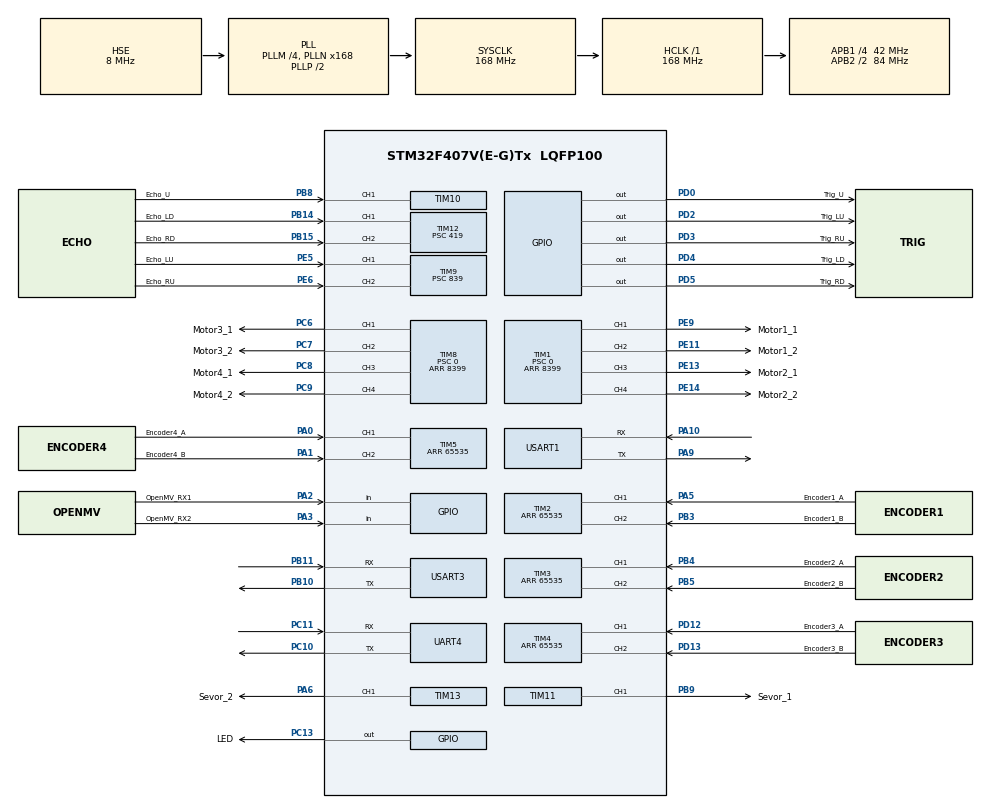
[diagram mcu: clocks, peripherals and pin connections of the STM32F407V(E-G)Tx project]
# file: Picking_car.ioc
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Dma.Request0=USART3_TX
Dma.Request1=USART3_RX
Dma.USART3_RX.1.Direction=DMA_PERIPH_TO_MEMORY
Dma.USART3_RX.1.FIFOMode=DMA_FIFOMODE_DISABLE
Dma.USART3_RX.1.Instance=DMA1_Stream1
Dma.USART3_RX.1.MemDataAlignment=DMA_MDATAALIGN_BYTE
Dma.USART3_RX.1.MemInc=DMA_MINC_ENABLE
Dma.USART3_RX.1.Mode=DMA_CIRCULAR
Dma.USART3_RX.1.PeriphDataAlignment=DMA_PDATAALIGN_BYTE
Dma.USART3_RX.1.PeriphInc=DMA_PINC_DISABLE
Dma.USART3_RX.1.Priority=DMA_PRIORITY_LOW
Dma.USART3_TX.0.Direction=DMA_MEMORY_TO_PERIPH
Dma.USART3_TX.0.FIFOMode=DMA_FIFOMODE_DISABLE
Dma.USART3_TX.0.Instance=DMA1_Stream3
Dma.USART3_TX.0.MemDataAlignment=DMA_MDATAALIGN_BYTE
Dma.USART3_TX.0.MemInc=DMA_MINC_ENABLE
Dma.USART3_TX.0.Mode=DMA_NORMAL
Dma.USART3_TX.0.PeriphDataAlignment=DMA_PDATAALIGN_BYTE
Dma.USART3_TX.0.PeriphInc=DMA_PINC_DISABLE
Dma.USART3_TX.0.Priority=DMA_PRIORITY_LOW
Mcu.Family=STM32F4
Mcu.Name=STM32F407V(E-G)Tx
Mcu.Package=LQFP100
NVIC.DMA1_Stream1_IRQn=true\:0\:0\:false\:false\:true\:false
NVIC.DMA1_Stream3_IRQn=true\:0\:0\:false\:false\:true\:false
NVIC.PriorityGroup=NVIC_PRIORITYGROUP_2
NVIC.TIM1_BRK_TIM9_IRQn=true\:0\:1\:true\:false\:true\:true
NVIC.TIM1_UP_TIM10_IRQn=true\:0\:1\:false\:false\:true\:true
NVIC.TIM6_DAC_IRQn=true\:1\:1\:true\:false\:true\:true
NVIC.TIM8_BRK_TIM12_IRQn=true\:0\:1\:false\:false\:true\:true
NVIC.TIM8_UP_TIM13_IRQn=true\:0\:1\:false\:false\:true\:true
NVIC.USART1_IRQn=true\:1\:0\:true\:false\:true\:true
NVIC.USART3_IRQn=true\:0\:0\:false\:false\:true\:true
PA0-WKUP.GPIO_Label=Encoder4_A
PA0-WKUP.GPIO_PuPd=GPIO_PULLUP
PA0-WKUP.GPIO_Speed=GPIO_SPEED_FREQ_HIGH
PA0-WKUP.Signal=S_TIM5_CH1
PA1.GPIO_Label=Encoder4_B
PA1.GPIO_PuPd=GPIO_PULLUP
PA1.GPIO_Speed=GPIO_SPEED_FREQ_HIGH
PA1.Signal=S_TIM5_CH2
PA10.Mode=Asynchronous
PA10.Signal=USART1_RX
PA13.Mode=Serial_Wire
PA13.Signal=SYS_JTMS-SWDIO
PA14.Mode=Serial_Wire
PA14.Signal=SYS_JTCK-SWCLK
PA2.GPIO_Label=OpenMV_RX1
PA2.GPIO_PuPd=GPIO_PULLDOWN
PA2.Signal=GPIO_Input
PA3.GPIO_Label=OpenMV_RX2
PA3.GPIO_PuPd=GPIO_PULLDOWN
PA3.Signal=GPIO_Input
PA5.GPIO_Label=Encoder1_A
PA5.GPIO_PuPd=GPIO_PULLUP
PA5.GPIO_Speed=GPIO_SPEED_FREQ_HIGH
PA5.Signal=S_TIM2_CH1_ETR
PA6.GPIO_Label=Sevor_2
PA6.Signal=S_TIM13_CH1
PA9.Mode=Asynchronous
PA9.Signal=USART1_TX
PB10.Mode=Asynchronous
PB10.Signal=USART3_TX
PB11.Mode=Asynchronous
PB11.Signal=USART3_RX
PB14.GPIO_Label=Echo_LD
PB14.GPIO_PuPd=GPIO_PULLDOWN
PB14.GPIO_Speed=GPIO_SPEED_FREQ_HIGH
PB14.Signal=S_TIM12_CH1
PB15.GPIO_Label=Echo_RD
PB15.GPIO_PuPd=GPIO_PULLDOWN
PB15.GPIO_Speed=GPIO_SPEED_FREQ_HIGH
PB15.Signal=S_TIM12_CH2
PB3.GPIO_Label=Encoder1_B
PB3.GPIO_PuPd=GPIO_PULLUP
PB3.GPIO_Speed=GPIO_SPEED_FREQ_HIGH
PB3.Signal=S_TIM2_CH2
PB4.GPIO_Label=Encoder2_A
PB4.GPIO_PuPd=GPIO_PULLUP
PB4.GPIO_Speed=GPIO_SPEED_FREQ_HIGH
PB4.Signal=S_TIM3_CH1
PB5.GPIO_Label=Encoder2_B
PB5.GPIO_PuPd=GPIO_PULLUP
PB5.GPIO_Speed=GPIO_SPEED_FREQ_HIGH
PB5.Signal=S_TIM3_CH2
PB8.GPIO_Label=Echo_U
PB8.GPIO_PuPd=GPIO_PULLDOWN
PB8.GPIO_Speed=GPIO_SPEED_FREQ_HIGH
PB8.Signal=S_TIM10_CH1
PB9.GPIO_Label=Sevor_1
PB9.Signal=S_TIM11_CH1
PC10.Mode=Asynchronous
PC10.Signal=UART4_TX
PC11.Mode=Asynchronous
PC11.Signal=UART4_RX
PC13-ANTI_TAMP.GPIO_Label=LED
PC13-ANTI_TAMP.GPIO_ModeDefaultOutputPP=GPIO_MODE_OUTPUT_PP
PC13-ANTI_TAMP.GPIO_PuPd=GPIO_PULLUP
PC13-ANTI_TAMP.PinState=GPIO_PIN_SET
PC13-ANTI_TAMP.Signal=GPIO_Output
PC6.GPIO_Label=Motor3_1
PC6.GPIO_PuPd=GPIO_PULLUP
PC6.GPIO_Speed=GPIO_SPEED_FREQ_HIGH
PC6.Signal=S_TIM8_CH1
PC7.GPIO_Label=Motor3_2
PC7.GPIO_PuPd=GPIO_PULLUP
PC7.GPIO_Speed=GPIO_SPEED_FREQ_HIGH
PC7.Signal=S_TIM8_CH2
PC8.GPIO_Label=Motor4_1
PC8.GPIO_PuPd=GPIO_PULLUP
PC8.GPIO_Speed=GPIO_SPEED_FREQ_HIGH
PC8.Signal=S_TIM8_CH3
PC9.GPIO_Label=Motor4_2
PC9.GPIO_PuPd=GPIO_PULLUP
PC9.GPIO_Speed=GPIO_SPEED_FREQ_HIGH
PC9.Signal=S_TIM8_CH4
PD0.GPIO_Label=Trig_U
PD0.GPIO_PuPd=GPIO_PULLUP
PD0.GPIO_Speed=GPIO_SPEED_FREQ_HIGH
PD0.Signal=GPIO_Output
PD12.GPIO_Label=Encoder3_A
PD12.GPIO_PuPd=GPIO_PULLUP
PD12.GPIO_Speed=GPIO_SPEED_FREQ_HIGH
PD12.Signal=S_TIM4_CH1
PD13.GPIO_Label=Encoder3_B
PD13.GPIO_PuPd=GPIO_PULLUP
PD13.GPIO_Speed=GPIO_SPEED_FREQ_HIGH
PD13.Signal=S_TIM4_CH2
PD2.GPIO_Label=Trig_LU
PD2.GPIO_PuPd=GPIO_PULLUP
PD2.GPIO_Speed=GPIO_SPEED_FREQ_HIGH
PD2.Signal=GPIO_Output
PD3.GPIO_Label=Trig_RU
PD3.GPIO_PuPd=GPIO_PULLUP
PD3.GPIO_Speed=GPIO_SPEED_FREQ_HIGH
PD3.Signal=GPIO_Output
PD4.GPIO_Label=Trig_LD
PD4.GPIO_PuPd=GPIO_PULLUP
PD4.GPIO_Speed=GPIO_SPEED_FREQ_HIGH
PD4.Signal=GPIO_Output
PD5.GPIO_Label=Trig_RD
PD5.GPIO_PuPd=GPIO_PULLUP
PD5.GPIO_Speed=GPIO_SPEED_FREQ_HIGH
PD5.Signal=GPIO_Output
PE11.GPIO_Label=Motor1_2
PE11.GPIO_PuPd=GPIO_PULLUP
PE11.GPIO_Speed=GPIO_SPEED_FREQ_HIGH
PE11.Signal=S_TIM1_CH2
PE13.GPIO_Label=Motor2_1
PE13.GPIO_PuPd=GPIO_PULLUP
PE13.GPIO_Speed=GPIO_SPEED_FREQ_HIGH
PE13.Signal=S_TIM1_CH3
PE14.GPIO_Label=Motor2_2
PE14.GPIO_PuPd=GPIO_PULLUP
PE14.GPIO_Speed=GPIO_SPEED_FREQ_HIGH
PE14.Signal=S_TIM1_CH4
PE5.GPIO_Label=Echo_LU
PE5.GPIO_PuPd=GPIO_PULLDOWN
PE5.GPIO_Speed=GPIO_SPEED_FREQ_HIGH
PE5.Signal=S_TIM9_CH1
PE6.GPIO_Label=Echo_RU
PE6.GPIO_PuPd=GPIO_PULLDOWN
PE6.GPIO_Speed=GPIO_SPEED_FREQ_HIGH
PE6.Signal=S_TIM9_CH2
PE9.GPIO_Label=Motor1_1
PE9.GPIO_PuPd=GPIO_PULLUP
PE9.GPIO_Speed=GPIO_SPEED_FREQ_HIGH
PE9.Signal=S_TIM1_CH1
PH0-OSC_IN.Mode=HSE-External-Oscillator
PH0-OSC_IN.Signal=RCC_OSC_IN
PH1-OSC_OUT.Mode=HSE-External-Oscillator
PH1-OSC_OUT.Signal=RCC_OSC_OUT
ProjectManager.HeapSize=0x200
ProjectManager.StackSize=0x400
ProjectManager.TargetToolchain=MDK-ARM V5
RCC.48MHZClocksFreq_Value=84000000
RCC.AHBFreq_Value=168000000
RCC.APB1CLKDivider=RCC_HCLK_DIV4
RCC.APB1Freq_Value=42000000
RCC.APB1TimFreq_Value=84000000
RCC.APB2CLKDivider=RCC_HCLK_DIV2
RCC.APB2Freq_Value=84000000
RCC.APB2TimFreq_Value=168000000
RCC.CortexFreq_Value=168000000
RCC.HCLKFreq_Value=168000000
RCC.HSE_VALUE=8000000
RCC.HSI_VALUE=16000000
RCC.LSE_VALUE=32768
RCC.PLLM=4
RCC.PLLN=168
RCC.PLLSourceVirtual=RCC_PLLSOURCE_HSE
RCC.RCC_RTC_Clock_Source=RCC_RTCCLKSOURCE_LSI
RCC.RCC_RTC_Clock_SourceVirtual=RCC_RTCCLKSOURCE_LSI
RCC.SYSCLKFreq_VALUE=168000000
RCC.SYSCLKSource=RCC_SYSCLKSOURCE_PLLCLK
RCC.VCOOutputFreq_Value=336000000
SH.S_TIM10_CH1.0=TIM10_CH1,Input_Capture1_from_TI1
SH.S_TIM11_CH1.0=TIM11_CH1,PWM Generation1 CH1
SH.S_TIM12_CH1.0=TIM12_CH1,Input_Capture1_from_TI1
SH.S_TIM12_CH2.0=TIM12_CH2,Input_Capture2_from_TI2
SH.S_TIM13_CH1.0=TIM13_CH1,PWM Generation1 CH1
SH.S_TIM1_CH1.0=TIM1_CH1,PWM Generation1 CH1
SH.S_TIM1_CH2.0=TIM1_CH2,PWM Generation2 CH2
SH.S_TIM1_CH3.0=TIM1_CH3,PWM Generation3 CH3
SH.S_TIM1_CH4.0=TIM1_CH4,PWM Generation4 CH4
SH.S_TIM2_CH1_ETR.0=TIM2_CH1,Encoder_Interface
SH.S_TIM2_CH2.0=TIM2_CH2,Encoder_Interface
SH.S_TIM3_CH1.0=TIM3_CH1,Encoder_Interface
SH.S_TIM3_CH2.0=TIM3_CH2,Encoder_Interface
SH.S_TIM4_CH1.0=TIM4_CH1,Encoder_Interface
SH.S_TIM4_CH2.0=TIM4_CH2,Encoder_Interface
SH.S_TIM5_CH1.0=TIM5_CH1,Encoder_Interface
SH.S_TIM5_CH2.0=TIM5_CH2,Encoder_Interface
SH.S_TIM8_CH1.0=TIM8_CH1,PWM Generation1 CH1
SH.S_TIM8_CH2.0=TIM8_CH2,PWM Generation2 CH2
SH.S_TIM8_CH3.0=TIM8_CH3,PWM Generation3 CH3
SH.S_TIM8_CH4.0=TIM8_CH4,PWM Generation4 CH4
SH.S_TIM9_CH1.0=TIM9_CH1,Input_Capture1_from_TI1
SH.S_TIM9_CH2.0=TIM9_CH2,Input_Capture2_from_TI2
TIM1.Channel-PWM\ Generation1\ CH1=TIM_CHANNEL_1
TIM1.Channel-PWM\ Generation2\ CH2=TIM_CHANNEL_2
TIM1.Channel-PWM\ Generation3\ CH3=TIM_CHANNEL_3
TIM1.Channel-PWM\ Generation4\ CH4=TIM_CHANNEL_4
TIM1.Period=8399
TIM1.Prescaler=0
TIM10.Channel=TIM_CHANNEL_1
TIM10.Period=7999
TIM10.Prescaler=839
TIM11.Channel=TIM_CHANNEL_1
TIM11.Period=2000-1
TIM11.Prescaler=1680-1
TIM12.Channel-Input_Capture1_from_TI1=TIM_CHANNEL_1
TIM12.Channel-Input_Capture2_from_TI2=TIM_CHANNEL_2
TIM12.Period=7999
TIM12.Prescaler=419
TIM13.Channel=TIM_CHANNEL_1
TIM13.Period=2000-1
TIM13.Prescaler=840-1
TIM2.EncoderMode=TIM_ENCODERMODE_TI12
TIM2.IC1Filter=6
TIM2.IC2Filter=6
TIM2.Period=65535
TIM3.EncoderMode=TIM_ENCODERMODE_TI12
TIM3.IC1Filter=6
TIM3.IC2Filter=6
TIM3.Period=65535
TIM4.EncoderMode=TIM_ENCODERMODE_TI12
TIM4.IC1Filter=6
TIM4.IC2Filter=6
TIM4.Period=65535
TIM5.EncoderMode=TIM_ENCODERMODE_TI12
TIM5.IC1Filter=6
TIM5.IC2Filter=6
TIM5.Period=65535
TIM6.Period=839
TIM6.Prescaler=99
TIM8.Channel-PWM\ Generation1\ CH1=TIM_CHANNEL_1
TIM8.Channel-PWM\ Generation2\ CH2=TIM_CHANNEL_2
TIM8.Channel-PWM\ Generation3\ CH3=TIM_CHANNEL_3
TIM8.Channel-PWM\ Generation4\ CH4=TIM_CHANNEL_4
TIM8.Period=8399
TIM8.Prescaler=0
TIM9.Channel-Input_Capture1_from_TI1=TIM_CHANNEL_1
TIM9.Channel-Input_Capture2_from_TI2=TIM_CHANNEL_2
TIM9.Period=7999
TIM9.Prescaler=839
UART4.VirtualMode=Asynchronous
USART1.VirtualMode=VM_ASYNC
USART3.VirtualMode=VM_ASYNC
VP_TIM10_VS_ClockSourceINT.Mode=Enable_Timer
VP_TIM11_VS_ClockSourceINT.Mode=Enable_Timer
VP_TIM12_VS_ClockSourceINT.Mode=Internal
VP_TIM13_VS_ClockSourceINT.Mode=Enable_Timer
VP_TIM1_VS_ClockSourceINT.Mode=Internal
VP_TIM6_VS_ClockSourceINT.Mode=Enable_Timer
VP_TIM8_VS_ClockSourceINT.Mode=Internal
VP_TIM9_VS_ClockSourceINT.Mode=Internal
board=custom

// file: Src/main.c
/**
  ******************************************************************************
  * @file           : main.c
  * @brief          : Main program body
  ******************************************************************************
  ** This notice applies to any and all portions of this file
  * that are not between comment pairs USER CODE BEGIN and
  * USER CODE END. Other portions of this file, whether
  * inserted by the user or by software development tools
  * are owned by their respective copyright owners.
  *
  * COPYRIGHT(c) 2018 STMicroelectronics
  *
  * Redistribution and use in source and binary forms, with or without modification,
  * are permitted provided that the following conditions are met:
  *   1. Redistributions of source code must retain the above copyright notice,
  *      this list of conditions and the following disclaimer.
  *   2. Redistributions in binary form must reproduce the above copyright notice,
  *      this list of conditions and the following disclaimer in the documentation
  *      and/or other materials provided with the distribution.
  *   3. Neither the name of STMicroelectronics nor the names of its contributors
  *      may be used to endorse or promote products derived from this software
  *      without specific prior written permission.
  *
  * THIS SOFTWARE IS PROVIDED BY THE COPYRIGHT HOLDERS AND CONTRIBUTORS "AS IS"
  * AND ANY EXPRESS OR IMPLIED WARRANTIES, INCLUDING, BUT NOT LIMITED TO, THE
  * IMPLIED WARRANTIES OF MERCHANTABILITY AND FITNESS FOR A PARTICULAR PURPOSE ARE
  * DISCLAIMED. IN NO EVENT SHALL THE COPYRIGHT HOLDER OR CONTRIBUTORS BE LIABLE
  * FOR ANY DIRECT, INDIRECT, INCIDENTAL, SPECIAL, EXEMPLARY, OR CONSEQUENTIAL
  * DAMAGES (INCLUDING, BUT NOT LIMITED TO, PROCUREMENT OF SUBSTITUTE GOODS OR
  * SERVICES; LOSS OF USE, DATA, OR PROFITS; OR BUSINESS INTERRUPTION) HOWEVER
  * CAUSED AND ON ANY THEORY OF LIABILITY, WHETHER IN CONTRACT, STRICT LIABILITY,
  * OR TORT (INCLUDING NEGLIGENCE OR OTHERWISE) ARISING IN ANY WAY OUT OF THE USE
  * OF THIS SOFTWARE, EVEN IF ADVISED OF THE POSSIBILITY OF SUCH DAMAGE.
  *
  ******************************************************************************
  */
#include "main.h"
#include "stm32f4xx_hal.h"
#include "dma.h"
#include "tim.h"
#include "usart.h"
#include "gpio.h"

/* USER CODE BEGIN Includes */
#include "path_planning.h"
#include "GY953.h"
#include "pid.h"
#include "hc_sr04.h"
#include "encoder.h"
#include "motor.h"
#include "Sevor.h"
#include "led.h"
#include "OpenMV_RX.h"
/* USER CODE END Includes */

/* USER CODE BEGIN PV */
/* Private variables ---------------------------------------------------------*/
#include "stdio.h"
#ifdef __GNUC__
#define PUTCHAR_PROTOTYPE int __io_putchar(int ch)
#else
#define PUTCHAR_PROTOTYPE int fputc(int ch, FILE *f)
#endif /* __GNUC__ */
PUTCHAR_PROTOTYPE
{
	HAL_UART_Transmit(&huart4 , (uint8_t *)&ch, 1, 0xFFFF);
	return ch;
}
//////////////////////////////////////////////////////////////////////////////////
//********************************************************************************
//
///////////     第四届全国大学生智能农业装备大赛B类机器人竞技类赛事    //////////////
//
//////////////////////////////////////////////////////////////////////////////////
//
//首先声明: 本程序只供学习使用，未经作者许可，不得用于其它任何用途
//
//本程序仅供  SCAU科技联合会硬件部  内部学习使用以及传承迭代，未经作者许可，不得私自外传代码
//
//It is hoped that later generations will be able to carry on and iterate this code set.
//
//			主     控:  STM32F407核心板
//                      机器人底盘: 麦克纳姆轮机器人底盘
//			电机  驱动: A4950
//			姿态传感器: GY953
//			调     试:  正点原子无线调试器
//
//
//         创建日期:2018/09/08
//         版权所有，盗版必究。
//
//
//
//
//				 作者: 林钊圣
//					2018.12.09
//						于 广州
//				All rights reserved
//
//********************************************************************************
//////////////////////////////////////////////////////////////////////////////////

/* USER CODE END PV */

void SystemClock_Config(void);

/* USER CODE BEGIN PFP */
/* Private function prototypes -----------------------------------------------*/

/* USER CODE END PFP */

/* USER CODE BEGIN 0 */
extern gy953 GY953;
extern angle Angle;
extern Encoder encoder;
/* USER CODE END 0 */

int main(void)
{

  /* MCU Configuration----------------------------------------------------------*/

  /* Reset of all peripherals, Initializes the Flash interface and the Systick. */
  HAL_Init();

  /* Configure the system clock */
  SystemClock_Config();

  /* Initialize all configured peripherals */
  MX_GPIO_Init();
  MX_DMA_Init();
  MX_TIM1_Init();
  MX_TIM8_Init();
  MX_TIM2_Init();
  MX_TIM3_Init();
  MX_TIM4_Init();
  MX_TIM5_Init();
  MX_TIM6_Init();
  MX_TIM9_Init();
  MX_TIM10_Init();
  MX_TIM12_Init();
  MX_USART1_UART_Init();
  MX_USART3_UART_Init();
  MX_TIM11_Init();
  MX_TIM13_Init();
  MX_UART4_Init();
  /* USER CODE BEGIN 2 */
  Angle_Init();
	Motor_Init();
	Encoder_Init();
	PID_Init(&Motor1_SpeedPID,PID_Motor1_KP,PID_Motor1_KI,PID_Motor1_KD);
	PID_Init(&Motor2_SpeedPID,PID_Motor2_KP,PID_Motor2_KI,PID_Motor2_KD);
	PID_Init(&Motor3_SpeedPID,PID_Motor3_KP,PID_Motor3_KI,PID_Motor3_KD);
	PID_Init(&Motor4_SpeedPID,PID_Motor4_KP,PID_Motor4_KI,PID_Motor4_KD);
	PID_Init(&HCSR_PID,PID_HCSR_KP,PID_HCSR_KI,PID_HCSR_KD);
	PID_Init(&Yaw_PID,PID_YAW_KP,PID_YAW_KI,PID_YAW_KD);
	Sevor_Init();
	Path_Init();
	HcSr04_Init(hc_sr04);
	for(int i=0;i<20;i++)
	 {
		 HC_SR04_Trig();
		 HAL_Delay(20);
	 }
  /* USER CODE END 2 */

  /* Infinite loop */
  /* USER CODE BEGIN WHILE */
	HAL_TIM_Base_Start_IT(&htim6);
//    Motor1_SpeedPID.SetPoint = 0;
//	  Motor2_SpeedPID.SetPoint = 0;
//	  Motor3_SpeedPID.SetPoint = 0;
//	  Motor4_SpeedPID.SetPoint = 0;
  while (1)
  {
   Angle.time = GY953_GetDate();
  /* USER CODE END WHILE */
   // OpenMV_control();
  /* USER CODE BEGIN 3 */
		HC_SR04_Trig();
		HAL_Delay(5);
  }
  /* USER CODE END 3 */

}

void SystemClock_Config(void)
{

  RCC_OscInitTypeDef RCC_OscInitStruct;
  RCC_ClkInitTypeDef RCC_ClkInitStruct;

    /**Configure the main internal regulator output voltage
    */
  __HAL_RCC_PWR_CLK_ENABLE();

  __HAL_PWR_VOLTAGESCALING_CONFIG(PWR_REGULATOR_VOLTAGE_SCALE1);

    /**Initializes the CPU, AHB and APB busses clocks
    */
  RCC_OscInitStruct.OscillatorType = RCC_OSCILLATORTYPE_HSE;
  RCC_OscInitStruct.HSEState = RCC_HSE_ON;
  RCC_OscInitStruct.PLL.PLLState = RCC_PLL_ON;
  RCC_OscInitStruct.PLL.PLLSource = RCC_PLLSOURCE_HSE;
  RCC_OscInitStruct.PLL.PLLM = 4;
  RCC_OscInitStruct.PLL.PLLN = 168;
  RCC_OscInitStruct.PLL.PLLP = RCC_PLLP_DIV2;
  RCC_OscInitStruct.PLL.PLLQ = 4;
  if (HAL_RCC_OscConfig(&RCC_OscInitStruct) != HAL_OK)
  {
    _Error_Handler(__FILE__, __LINE__);
  }

    /**Initializes the CPU, AHB and APB busses clocks
    */
  RCC_ClkInitStruct.ClockType = RCC_CLOCKTYPE_HCLK|RCC_CLOCKTYPE_SYSCLK
                              |RCC_CLOCKTYPE_PCLK1|RCC_CLOCKTYPE_PCLK2;
  RCC_ClkInitStruct.SYSCLKSource = RCC_SYSCLKSOURCE_PLLCLK;
  RCC_ClkInitStruct.AHBCLKDivider = RCC_SYSCLK_DIV1;
  RCC_ClkInitStruct.APB1CLKDivider = RCC_HCLK_DIV4;
  RCC_ClkInitStruct.APB2CLKDivider = RCC_HCLK_DIV2;

  if (HAL_RCC_ClockConfig(&RCC_ClkInitStruct, FLASH_LATENCY_5) != HAL_OK)
  {
    _Error_Handler(__FILE__, __LINE__);
  }

    /**Configure the Systick interrupt time
    */
  HAL_SYSTICK_Config(HAL_RCC_GetHCLKFreq()/1000);

    /**Configure the Systick
    */
  HAL_SYSTICK_CLKSourceConfig(SYSTICK_CLKSOURCE_HCLK);

  /* SysTick_IRQn interrupt configuration */
  HAL_NVIC_SetPriority(SysTick_IRQn, 0, 0);
}

void _Error_Handler(char *file, int line)
{
  while(1)
  {
  }
}

/************************ (C) COPYRIGHT STMicroelectronics *****END OF FILE****/
